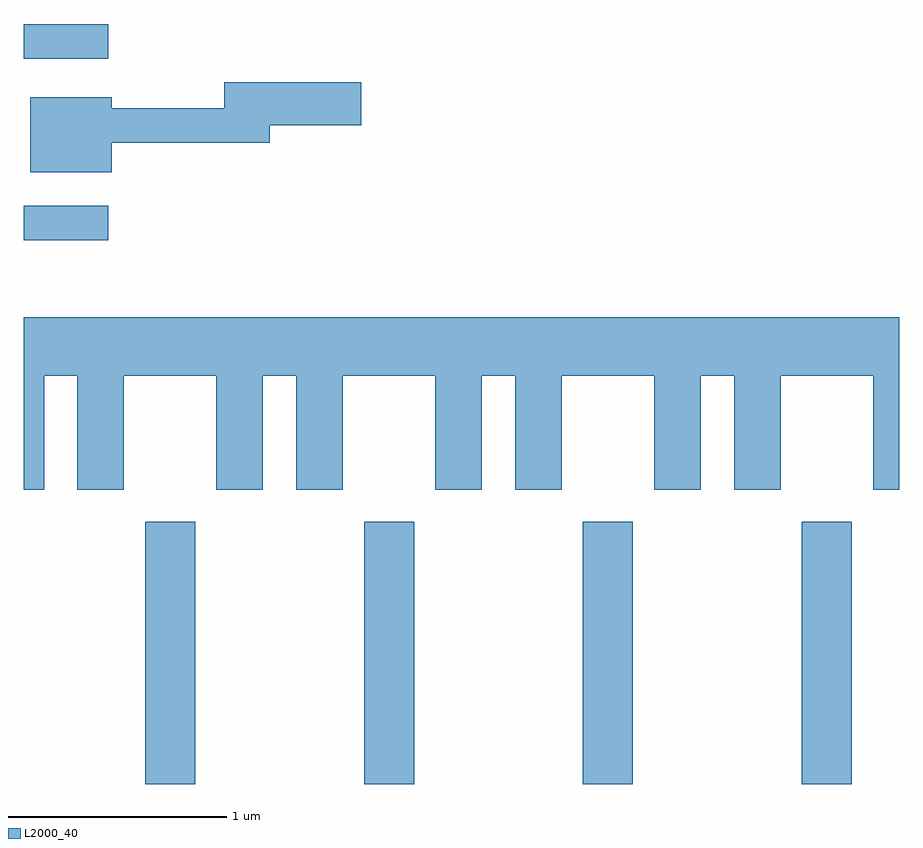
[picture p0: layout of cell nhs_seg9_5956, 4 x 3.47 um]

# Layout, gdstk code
import gdstk
lib = gdstk.Library(unit=1e-6, precision=1e-09)
def R(c, l, rs):  # rectangles x0, y0, x1, y1
    for r in rs: c.add(gdstk.rectangle(r[:2], r[2:], *l))
def A(c, l, x, y, w, h, nx, ny, dx, dy):  # array of equal rectangles
    R(c, l, [(x+i*dx, y+j*dy, x+i*dx+w, y+j*dy+h) for i in range(nx) for j in range(ny)])
def P(c, l, *ps):  # polygons
    for p in ps: c.add(gdstk.Polygon(p, *l))
L2000_40 = (2000, 40)

nhs_seg9_5956 = lib.new_cell('nhs_seg9_5956')
A(nhs_seg9_5956, L2000_40, 362.166, 1954.432, 0.228, 1.197, 4, 1, 1, 0)
R(nhs_seg9_5956, L2000_40, [(361.611,1956.916,361.998,1957.074), (361.611,1957.746,361.998,1957.904)])
P(nhs_seg9_5956, L2000_40, [(362.014,1957.361),(362.734,1957.361),(362.734,1957.441),(363.154,1957.441),(363.154,1957.639),(362.526,1957.639),(362.526,1957.519),(362.014,1957.519),(362.014,1957.569),(361.641,1957.569),(361.641,1957.226),(362.014,1957.226)],
  [(361.704,1956.296),(361.856,1956.296),(361.856,1955.776),(362.069,1955.776),(362.069,1956.296),(362.491,1956.296),(362.491,1955.776),(362.704,1955.776),(362.704,1956.296),(362.856,1956.296),(362.856,1955.776),(363.069,1955.776),(363.069,1956.296),(363.491,1956.296),(363.491,1955.776),(363.704,1955.776),(363.704,1956.296),(363.856,1956.296),(363.856,1955.776),(364.069,1955.776),(364.069,1956.296),(364.491,1956.296),(364.491,1955.776),(364.704,1955.776),(364.704,1956.296),(364.856,1956.296),(364.856,1955.776),(365.069,1955.776),(365.069,1956.296),(365.491,1956.296),(365.491,1955.776),(365.611,1955.776),(365.611,1956.564),(361.611,1956.564),(361.611,1955.776),(361.704,1955.776)])

lib.write_gds('nhs_seg9_5956.gds')
